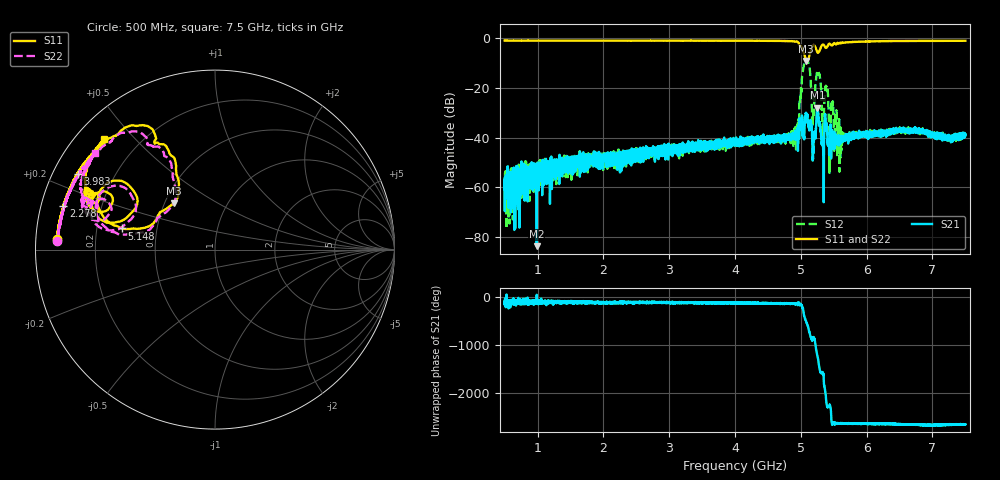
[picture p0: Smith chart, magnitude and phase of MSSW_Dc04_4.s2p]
!Keysight Technologies,M9374A,MY55442783,A.12.55.05
!Date: Wednesday, May 19, 2021 16:59:41
!Correction: S11(Full 2 Port(1,2))
!S21(Full 2 Port(1,2))
!S12(Full 2 Port(1,2))
!S22(Full 2 Port(1,2))
!S2P File: Measurements: S11, S21, S12, S22:
# Hz S  RI  R 50
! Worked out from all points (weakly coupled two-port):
!   7001 points, 500 MHz to 7.5 GHz, reference 50 ohm
!   highest |S21| = -28.02 dB at 5.252 GHz (marker M1); lowest = -83.6 dB at 988 MHz (marker M2)
!   lowest |S11| = -9.2 dB at 5.08 GHz (marker M3), VSWR 2.05, Z = 27.9 + j16.4 ohm
!   |S11| at or under -10 dB: nowhere
!   |S22| runs from -9.4 to -1.1 dB; largest |S21 - S12| = 0.35
!   S11 on the Smith chart (normalised r, x): 500 MHz: 0.06, +0.03; 2.278 GHz: 0.07, +0.14; 3.983 GHz: 0.07, +0.26; 5.148 GHz: 0.31, +0.10; 7.5 GHz: 0.08, +0.41
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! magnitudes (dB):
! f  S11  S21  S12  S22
! 500 MHz  -1.1  -57.0  -60.4  -1.1
! 988 MHz  -1.1  -83.6  -56.3  -1.1
! 1.667 GHz  -1.1  -51.7  -50.3  -1.2
! 2.278 GHz  -1.1  -46.1  -47.7  -1.2
! 2.834 GHz  -1.1  -47.1  -45.7  -1.2
! 3.983 GHz  -1.2  -41.4  -42.1  -1.2
! 4 GHz  -1.2  -41.4  -41.8  -1.3
! 4.908 GHz  -1.5  -38.7  -36.7  -1.6
! 4.958 GHz  -1.8  -40.1  -36.2  -1.8
! 5.034 GHz  -5.2  -34.8  -13.0  -5.1
! 5.08 GHz  -9.2  -30.3  -8.5  -9.4
! 5.148 GHz  -5.5  -33.9  -16.6  -5.3
! 5.167 GHz  -4.0  -37.0  -28.3  -3.8
! 5.199 GHz  -2.9  -40.2  -29.6  -3.0
! 5.252 GHz  -5.9  -28.0  -13.3  -6.0
! 5.332 GHz  -2.7  -41.0  -40.9  -2.7
! 5.389 GHz  -4.0  -34.7  -20.0  -4.0
! 5.444 GHz  -2.5  -36.8  -47.6  -2.6
! 5.492 GHz  -2.5  -44.7  -27.4  -2.6
! 5.621 GHz  -1.9  -40.1  -39.5  -2.1
! 6.334 GHz  -1.3  -38.1  -37.8  -1.4
! 7.5 GHz  -1.2  -38.8  -39.0  -1.3
